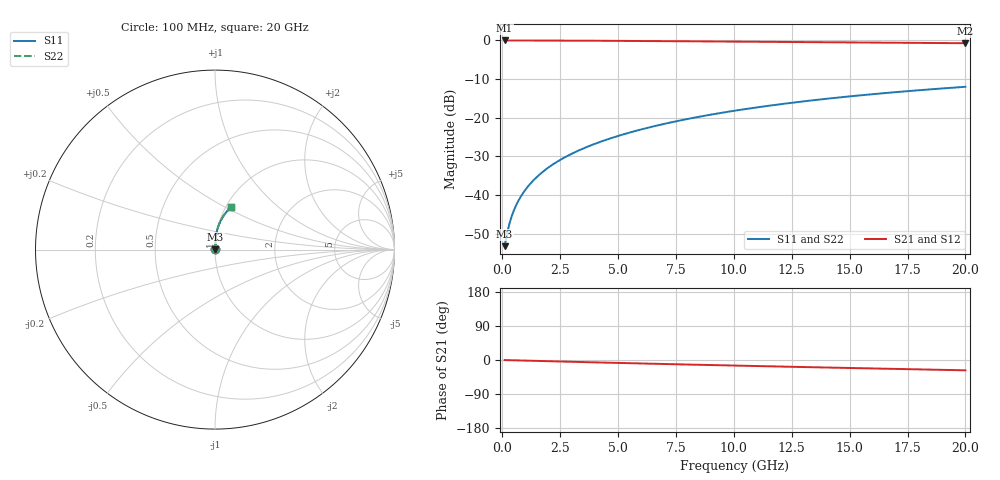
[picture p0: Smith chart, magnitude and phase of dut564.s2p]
! Touchstone file exported from HFSS 2024.1.0
!  File:  C:/UserFiles/LocalFiles/RDL_TSV_Batchsim/temp_RDL_bottom_564_1779689910.aedt
!  Generated:  02:20:47 PM May 25, 2026
!  Design:  RDL_bottom
!  Project:  temp_RDL_bottom_564_1779689910
!  Setup:  Setup1
!  Solution:  Sweep
! Variables:
!  dtsv = 10.80580581um
!  hbump = 3um
!  htsv = 94.98um
!  ldown = 390.63um
!  lrdl = 100um
!  p = 40
!  p1 = 43.99um
!  rhole = 1um
!  t = 450um
!  tdown = 4.06um
!  trdl = 3.915915916um
!  wdown = 21.45um
!  wrdl = 20um
# GHz S MA R 50.000000
! Terminal data exported
! Port[1] = RDL1_T1
! Port[2] = RDL1_T2
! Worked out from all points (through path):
!   200 points, 100 MHz to 20 GHz, reference 50 ohm
!   highest |S21| = -0.02 dB at 100 MHz (marker M1); lowest = -0.7 dB at 20 GHz (marker M2)
!   group delay of S21, straight-line fit = 3.75 ps
!   lowest |S11| = -53.2 dB at 100 MHz (marker M3), VSWR 1.00, Z = 50.2 + j0.127 ohm
!   |S11| at or under -10 dB: start of sweep to end of sweep
!   |S22| runs from -53.2 to -12.0 dB; largest |S21 - S12| = 5.4e-15
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0.1  0.002179 35.4  0.9982 -0.2  0.9982 -0.2  0.002179 35.4
! Gamma 0 0 0 0
! Port Impedance 50 0 50 0
0.2  0.003106 53.4  0.9981 -0.3  0.9981 -0.3  0.003106 53.4
0.3  0.004164 62.2  0.998 -0.5  0.998 -0.5  0.004164 62.1
0.4  0.005245 67.1  0.9979 -0.7  0.9979 -0.7  0.005244 67.1
0.5  0.006323 70.5  0.9978 -0.8  0.9978 -0.8  0.006322 70.4
0.6  0.007399 72.9  0.9977 -1.0  0.9977 -1.0  0.007397 72.9
0.8  0.00955 76.3  0.9975 -1.3  0.9975 -1.3  0.009549 76.3
1.1  0.0128 79.5  0.9971 -1.8  0.9971 -1.8  0.0128 79.5
1.3  0.01499 80.9  0.9969 -2.1  0.9969 -2.1  0.01499 80.9
1.6  0.01831 82.5  0.9964 -2.5  0.9964 -2.5  0.01831 82.5
2.1  0.02391 84.2  0.9955 -3.3  0.9955 -3.3  0.02391 84.2
2.7  0.03074 85.3  0.9941 -4.3  0.9941 -4.3  0.03074 85.3
3.5  0.04004 86.1  0.9918 -5.5  0.9918 -5.5  0.04004 86.1
4.2  0.04836 86.4  0.9894 -6.6  0.9894 -6.6  0.04836 86.4
5  0.05809 86.4  0.9865 -7.7  0.9865 -7.7  0.05809 86.4
6.8  0.08073 85.6  0.9791 -10.3  0.9791 -10.3  0.08074 85.6
8.4  0.1015 84.3  0.972 -12.5  0.972 -12.5  0.1016 84.3
10.1  0.124 82.5  0.9644 -14.8  0.9644 -14.8  0.1241 82.6
11.7  0.1453 80.6  0.9572 -16.9  0.9572 -16.9  0.1454 80.7
13.4  0.1678 78.5  0.9495 -19.1  0.9495 -19.1  0.1679 78.5
16.7  0.2105 74.1  0.9346 -23.2  0.9346 -23.2  0.2106 74.1
20  0.2511 69.7  0.9196 -27.2  0.9196 -27.2  0.2512 69.7
